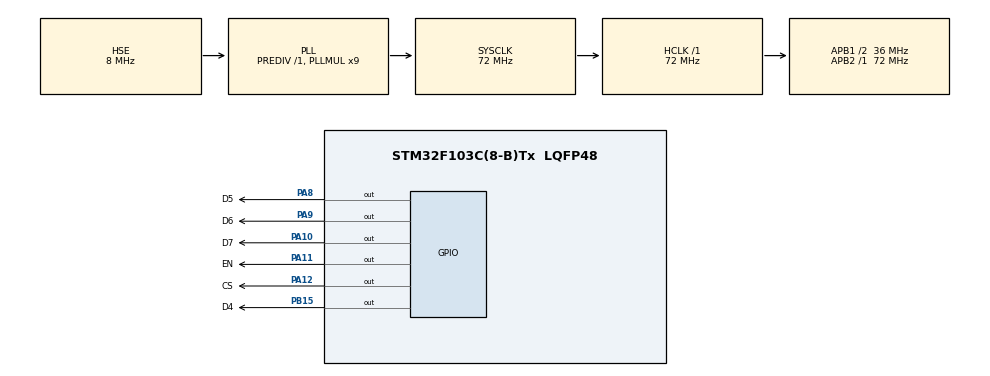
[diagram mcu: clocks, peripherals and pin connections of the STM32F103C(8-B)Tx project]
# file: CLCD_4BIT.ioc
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Mcu.Family=STM32F1
RCC.PLLSourceVirtual=RCC_PLLSOURCE_HSE
PD1-OSC_OUT.Mode=HSE-External-Oscillator
PA9.GPIO_Label=D6
PA11.GPIO_Label=EN
PD0-OSC_IN.Signal=RCC_OSC_IN
RCC.APB1CLKDivider=RCC_HCLK_DIV2
PB15.Signal=GPIO_Output
PA12.GPIO_Label=CS
RCC.SYSCLKSource=RCC_SYSCLKSOURCE_PLLCLK
ProjectManager.StackSize=0x400
PD1-OSC_OUT.Signal=RCC_OSC_OUT
PA13.Signal=SYS_JTMS-SWDIO
PA12.Signal=GPIO_Output
PA8.GPIO_Label=D5
ProjectManager.TargetToolchain=MDK-ARM V5
RCC.HCLKFreq_Value=72000000
RCC.APB2TimFreq_Value=72000000
PA9.Signal=GPIO_Output
RCC.USBFreq_Value=72000000
RCC.AHBFreq_Value=72000000
PD0-OSC_IN.Mode=HSE-External-Oscillator
board=custom
RCC.PLLMUL=RCC_PLL_MUL9
RCC.APB2Freq_Value=72000000
PB15.GPIO_Label=D4
PA14.Mode=Serial_Wire
PA10.GPIO_Label=D7
PA8.Signal=GPIO_Output
PA13.Mode=Serial_Wire
Mcu.Name=STM32F103C(8-B)Tx
RCC.SYSCLKFreq_VALUE=72000000
Mcu.Package=LQFP48
PA11.Signal=GPIO_Output
PA10.Signal=GPIO_Output
PA14.Signal=SYS_JTCK-SWCLK
ProjectManager.HeapSize=0x200
NVIC.PriorityGroup=NVIC_PRIORITYGROUP_4
RCC.APB1TimFreq_Value=72000000
RCC.APB1Freq_Value=36000000

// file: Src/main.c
/* USER CODE BEGIN Header */
/**
  ******************************************************************************
  * @file           : main.c
  * @brief          : Main program body
  ******************************************************************************
  * @attention
  *
  * <h2><center>&copy; Copyright (c) 2020 STMicroelectronics.
  * All rights reserved.</center></h2>
  *
  * This software component is licensed by ST under BSD 3-Clause license,
  * the "License"; You may not use this file except in compliance with the
  * License. You may obtain a copy of the License at:
  *                        opensource.org/licenses/BSD-3-Clause
  *
  ******************************************************************************
  */
/* USER CODE END Header */

#include "main.h"

/* USER CODE BEGIN Includes */
#include "../../lib/drivers/display/char_lcd/char_lcd.h"
#include <stdio.h>
/* USER CODE END Includes */

void SystemClock_Config(void);
static void MX_GPIO_Init(void);

/* USER CODE BEGIN 0 */
CHAR_LCD_Device LCD1;
uint8_t Count;
char LCD_send[16];
/* USER CODE END 0 */

int main(void)
{

  /* MCU Configuration--------------------------------------------------------*/

  /* Reset of all peripherals, Initializes the Flash interface and the Systick. */
  HAL_Init();

  /* Configure the system clock */
  SystemClock_Config();

  /* Initialize all configured peripherals */
  MX_GPIO_Init();
  /* USER CODE BEGIN 2 */
	CHAR_LCD_4BIT_Init(&LCD1, 16, 2, CS_GPIO_Port, CS_Pin, EN_GPIO_Port, EN_Pin,
									D4_GPIO_Port, D4_Pin, D5_GPIO_Port, D5_Pin,
									D6_GPIO_Port, D6_Pin, D7_GPIO_Port, D7_Pin);

  /* USER CODE END 2 */

  /* Infinite loop */
  while (1)
  {

    /* USER CODE BEGIN 3 */
		CHAR_LCD_SetCursor(&LCD1, 0, 0);
		CHAR_LCD_WriteString(&LCD1, "Khue Nguyen Creator");

		sprintf(LCD_send, "LCD Dem: %d", Count);
		CHAR_LCD_SetCursor(&LCD1, 0, 1);
		CHAR_LCD_WriteString(&LCD1, LCD_send);
		Count++;
		HAL_Delay(1000);
  }
  /* USER CODE END 3 */
}

void SystemClock_Config(void)
{
  RCC_OscInitTypeDef RCC_OscInitStruct = {0};
  RCC_ClkInitTypeDef RCC_ClkInitStruct = {0};

  /** Initializes the CPU, AHB and APB busses clocks
  */
  RCC_OscInitStruct.OscillatorType = RCC_OSCILLATORTYPE_HSE;
  RCC_OscInitStruct.HSEState = RCC_HSE_ON;
  RCC_OscInitStruct.HSEPredivValue = RCC_HSE_PREDIV_DIV1;
  RCC_OscInitStruct.HSIState = RCC_HSI_ON;
  RCC_OscInitStruct.PLL.PLLState = RCC_PLL_ON;
  RCC_OscInitStruct.PLL.PLLSource = RCC_PLLSOURCE_HSE;
  RCC_OscInitStruct.PLL.PLLMUL = RCC_PLL_MUL9;
  if (HAL_RCC_OscConfig(&RCC_OscInitStruct) != HAL_OK)
  {
    Error_Handler();
  }
  /** Initializes the CPU, AHB and APB busses clocks
  */
  RCC_ClkInitStruct.ClockType = RCC_CLOCKTYPE_HCLK|RCC_CLOCKTYPE_SYSCLK
                              |RCC_CLOCKTYPE_PCLK1|RCC_CLOCKTYPE_PCLK2;
  RCC_ClkInitStruct.SYSCLKSource = RCC_SYSCLKSOURCE_PLLCLK;
  RCC_ClkInitStruct.AHBCLKDivider = RCC_SYSCLK_DIV1;
  RCC_ClkInitStruct.APB1CLKDivider = RCC_HCLK_DIV2;
  RCC_ClkInitStruct.APB2CLKDivider = RCC_HCLK_DIV1;

  if (HAL_RCC_ClockConfig(&RCC_ClkInitStruct, FLASH_LATENCY_2) != HAL_OK)
  {
    Error_Handler();
  }
}

static void MX_GPIO_Init(void)
{
  GPIO_InitTypeDef GPIO_InitStruct = {0};

  /* GPIO Ports Clock Enable */
  __HAL_RCC_GPIOD_CLK_ENABLE();
  __HAL_RCC_GPIOB_CLK_ENABLE();
  __HAL_RCC_GPIOA_CLK_ENABLE();

  /*Configure GPIO pin Output Level */
  HAL_GPIO_WritePin(D4_GPIO_Port, D4_Pin, GPIO_PIN_RESET);

  /*Configure GPIO pin Output Level */
  HAL_GPIO_WritePin(GPIOA, D5_Pin|D6_Pin|D7_Pin|EN_Pin
                          |CS_Pin, GPIO_PIN_RESET);

  /*Configure GPIO pin : D4_Pin */
  GPIO_InitStruct.Pin = D4_Pin;
  GPIO_InitStruct.Mode = GPIO_MODE_OUTPUT_PP;
  GPIO_InitStruct.Pull = GPIO_NOPULL;
  GPIO_InitStruct.Speed = GPIO_SPEED_FREQ_LOW;
  HAL_GPIO_Init(D4_GPIO_Port, &GPIO_InitStruct);

  /*Configure GPIO pins : D5_Pin D6_Pin D7_Pin EN_Pin
                           CS_Pin */
  GPIO_InitStruct.Pin = D5_Pin|D6_Pin|D7_Pin|EN_Pin
                          |CS_Pin;
  GPIO_InitStruct.Mode = GPIO_MODE_OUTPUT_PP;
  GPIO_InitStruct.Pull = GPIO_NOPULL;
  GPIO_InitStruct.Speed = GPIO_SPEED_FREQ_LOW;
  HAL_GPIO_Init(GPIOA, &GPIO_InitStruct);

}

void Error_Handler(void)
{
}

/************************ (C) COPYRIGHT STMicroelectronics *****END OF FILE****/
